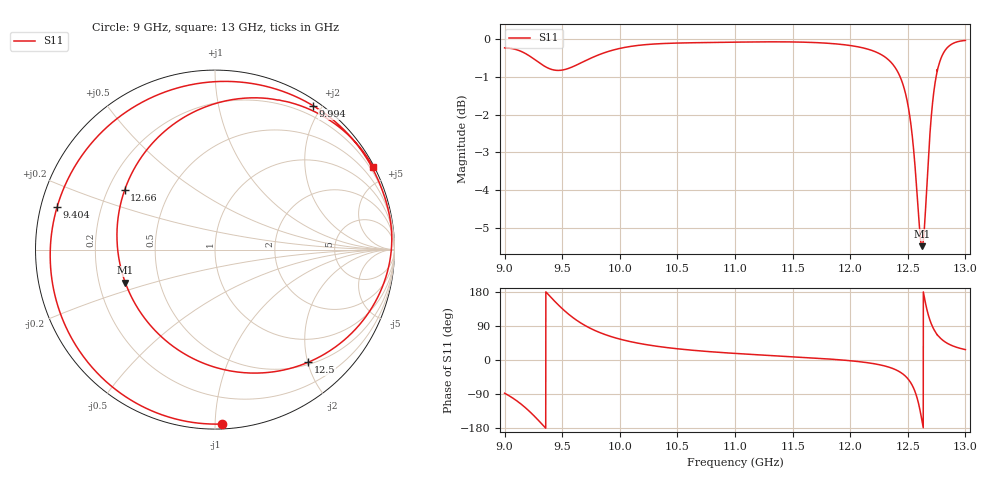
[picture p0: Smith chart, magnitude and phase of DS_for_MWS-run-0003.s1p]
! TOUCHSTONE file generated by CST DESIGN STUDIO
! Date and time: Tue Feb  4 16:48:18 2025
! Project name: C:\Work\MatlabApps\UnitCellOptimizationMatlab\CST\unitcell.cst
! Tree item: Tasks\Sweep1\SPara1\S-Parameters
! Header version: 2024
! Port assignment regex: !\s*Touchstone port\s*([0-9]+)\s*=\s*(CST MWS port|CST DES external port|CST DES block port)\s*(.+)\s* \(\"(.*)\"\)(\s*mode\s*([0-9]+))?.*
! Touchstone port assignment:
! Touchstone port 1 = CST DES external port 1 ("")
# GHz S MA R 50
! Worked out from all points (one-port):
!   4001 points, 9 GHz to 13 GHz, reference 50 ohm
!   lowest |S11| = -5.5 dB at 12.62 GHz (marker M1), VSWR 3.28, Z = 15.7 - j8.05 ohm
!   |S11| at or under -10 dB: nowhere
!   S11 on the Smith chart (normalised r, x): 9 GHz: 0.03, -1.04; 9.404 GHz: 0.05, +0.13; 9.994 GHz: 0.07, +1.89; 12.5 GHz: 0.54, -2.01; 12.66 GHz: 0.27, +0.28; 13 GHz: 0.05, +4.10
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9  0.9725 -87.6
9.104  0.967 -107.4
9.192  0.9537 -129.0
9.305  0.9284 -162.9
9.404  0.9112 164.8
9.5  0.909 135.6
9.586  0.9175 113.5
9.684  0.9324 93.5
9.831  0.9539 71.8
9.994  0.9703 55.6
10  0.9708 55.2
10.5  0.9867 29.6
11  0.9894 17.4
11.5  0.99 8.6
12  0.9794 -1.9
12.348  0.9329 -20.1
12.437  0.888 -32.6
12.5  0.8196 -49.3
12.503  0.8149 -50.3
12.573  0.6474 -92.4
12.598  0.5711 -121.0
12.623  0.5326 -159.8
12.656  0.603 146.6
12.692  0.7483 105.3
12.733  0.8667 77.2
12.775  0.9297 60.1
12.833  0.9692 45.8
13  0.9945 27.4
